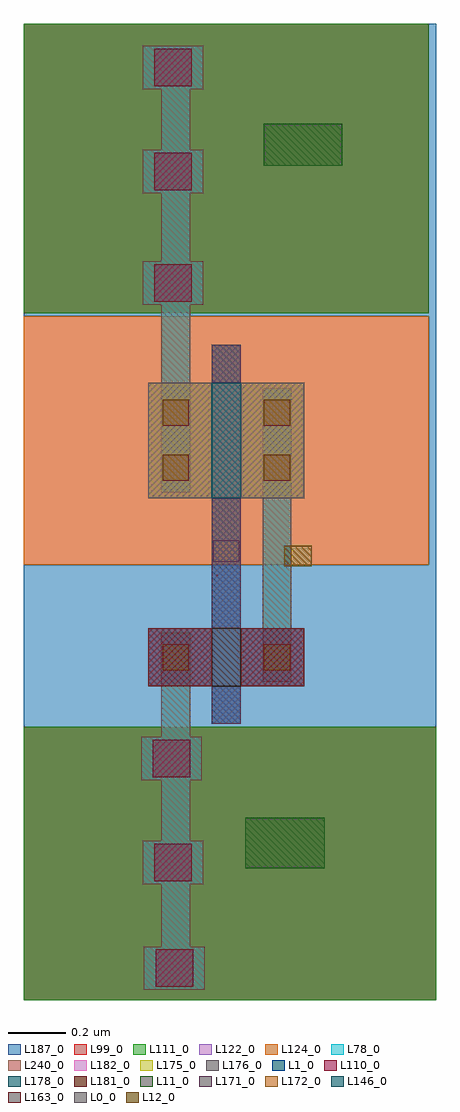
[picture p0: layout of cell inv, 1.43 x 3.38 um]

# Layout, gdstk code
import gdstk
lib = gdstk.Library(unit=1e-6, precision=1e-09)
def R(c, l, rs):  # rectangles x0, y0, x1, y1
    for r in rs: c.add(gdstk.rectangle(r[:2], r[2:], *l))
def P(c, l, *ps):  # polygons
    for p in ps: c.add(gdstk.Polygon(p, *l))
L0_0 = (0, 0)
L1_0 = (1, 0)
L11_0 = (11, 0)
L12_0 = (12, 0)
L78_0 = (78, 0)
L99_0 = (99, 0)
L110_0 = (110, 0)
L111_0 = (111, 0)
L122_0 = (122, 0)
L124_0 = (124, 0)
L146_0 = (146, 0)
L163_0 = (163, 0)
L171_0 = (171, 0)
L172_0 = (172, 0)
L175_0 = (175, 0)
L176_0 = (176, 0)
L178_0 = (178, 0)
L181_0 = (181, 0)
L182_0 = (182, 0)
L187_0 = (187, 0)
L240_0 = (240, 0)

inv = lib.new_cell('inv')
R(inv, L0_0, [(-3.16,-1.115,-3.155,-1.11), (-3.17,-1.065,-3.08,-0.99)])
R(inv, L1_0, [(-3.175,-1.625,-3.075,-0.315)])
R(inv, L11_0, [(-3.06,-2.125,-2.785,-1.95), (-2.995,0.305,-2.725,0.45)])
R(inv, L12_0, [(-2.925,-1.08,-2.83,-1.01)])
R(inv, L78_0, [(-3,-1.48,-2.9,-0.465)])
P(inv, L78_0, [(-3.205,0.72),(-3.205,0.57),(-3.25,0.57),(-3.25,0.36),(-3.205,0.36),(-3.205,0.21),(-3.25,0.21),(-3.25,-0.025),(-3.205,-0.025),(-3.205,-0.175),(-3.25,-0.175),(-3.25,-0.825),(-3.35,-0.825),(-3.35,-0.175),(-3.415,-0.175),(-3.415,-0.025),(-3.35,-0.025),(-3.35,0.21),(-3.415,0.21),(-3.415,0.36),(-3.35,0.36),(-3.35,0.57),(-3.415,0.57),(-3.415,0.72)],
  [(-3.25,-1.31),(-3.25,-1.67),(-3.21,-1.67),(-3.21,-1.82),(-3.25,-1.82),(-3.25,-2.03),(-3.205,-2.03),(-3.205,-2.18),(-3.25,-2.18),(-3.25,-2.395),(-3.2,-2.395),(-3.2,-2.545),(-3.41,-2.545),(-3.41,-2.395),(-3.35,-2.395),(-3.35,-2.18),(-3.415,-2.18),(-3.415,-2.03),(-3.35,-2.03),(-3.35,-1.82),(-3.42,-1.82),(-3.42,-1.67),(-3.35,-1.67),(-3.35,-1.31)])
R(inv, L99_0, [(-3.825,-2.58,-2.4,-1.635), (-3.825,-0.205,-2.425,0.795)])
R(inv, L110_0, [(-3.37,-2.535,-3.24,-2.405), (-3.375,-2.17,-3.245,-2.04), (-3.38,-1.81,-3.25,-1.68), (-3.375,-0.165,-3.245,-0.035), (-3.375,0.22,-3.245,0.35), (-3.375,0.58,-3.245,0.71)])
R(inv, L111_0, [(-3.825,-2.58,-2.4,-1.635), (-3.825,-0.205,-2.425,0.795)])
R(inv, L122_0, [(-3.825,-1.075,-2.425,-0.215)])
R(inv, L124_0, [(-3.825,-1.075,-2.425,-0.215)])
R(inv, L146_0, [(-3.175,-0.845,-3.075,-0.445)])
R(inv, L163_0, [(-3.175,-1.495,-3.075,-1.295)])
R(inv, L171_0, [(-3.175,-1.625,-3.075,-1.495), (-3.175,-1.295,-3.075,-0.845), (-3.175,-0.445,-3.075,-0.315)])
R(inv, L172_0, [(-3.345,-1.44,-3.255,-1.35), (-2.995,-1.44,-2.905,-1.35), (-3.345,-0.785,-3.255,-0.695), (-2.995,-0.785,-2.905,-0.695), (-3.345,-0.595,-3.255,-0.505), (-2.995,-0.595,-2.905,-0.505)])
R(inv, L175_0, [(-3.395,-0.845,-3.175,-0.445), (-3.075,-0.845,-2.855,-0.445)])
R(inv, L176_0, [(-3.395,-0.845,-3.175,-0.445), (-3.075,-0.845,-2.855,-0.445)])
R(inv, L178_0, [(-3.395,-1.495,-3.175,-1.295), (-3.075,-1.495,-2.855,-1.295)])
R(inv, L181_0, [(-3.395,-1.495,-3.175,-1.295), (-3.075,-1.495,-2.855,-1.295)])
R(inv, L182_0, [(-3.395,-1.495,-3.175,-1.295), (-3.075,-1.495,-2.855,-1.295), (-3.395,-0.845,-3.175,-0.445), (-3.075,-0.845,-2.855,-0.445)])
P(inv, L187_0, [(-2.4,0.795),(-2.4,-2.58),(-3.825,-2.58),(-3.825,-1.075),(-2.425,-1.075),(-2.425,-0.215),(-3.825,-0.215),(-3.825,0.795)])
R(inv, L240_0, [(-3,-1.48,-2.9,-0.465)])
P(inv, L240_0, [(-3.205,0.72),(-3.205,0.57),(-3.25,0.57),(-3.25,0.36),(-3.205,0.36),(-3.205,0.21),(-3.25,0.21),(-3.25,-0.025),(-3.205,-0.025),(-3.205,-0.175),(-3.25,-0.175),(-3.25,-0.825),(-3.35,-0.825),(-3.35,-0.175),(-3.415,-0.175),(-3.415,-0.025),(-3.35,-0.025),(-3.35,0.21),(-3.415,0.21),(-3.415,0.36),(-3.35,0.36),(-3.35,0.57),(-3.415,0.57),(-3.415,0.72)],
  [(-3.25,-1.31),(-3.25,-1.67),(-3.21,-1.67),(-3.21,-1.82),(-3.25,-1.82),(-3.25,-2.03),(-3.205,-2.03),(-3.205,-2.18),(-3.25,-2.18),(-3.25,-2.395),(-3.2,-2.395),(-3.2,-2.545),(-3.41,-2.545),(-3.41,-2.395),(-3.35,-2.395),(-3.35,-2.18),(-3.415,-2.18),(-3.415,-2.03),(-3.35,-2.03),(-3.35,-1.82),(-3.42,-1.82),(-3.42,-1.67),(-3.35,-1.67),(-3.35,-1.31)])

lib.write_gds('inv.gds')
